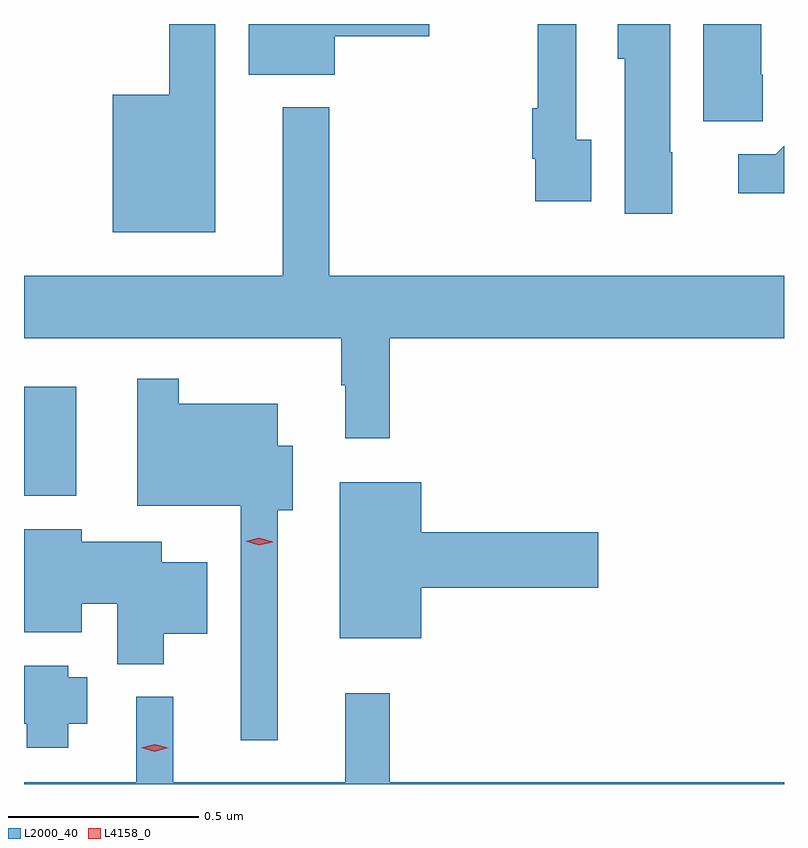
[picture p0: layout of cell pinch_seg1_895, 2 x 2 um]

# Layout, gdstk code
import gdstk
lib = gdstk.Library(unit=1e-6, precision=1e-09)
def R(c, l, rs):  # rectangles x0, y0, x1, y1
    for r in rs: c.add(gdstk.rectangle(r[:2], r[2:], *l))
def P(c, l, *ps):  # polygons
    for p in ps: c.add(gdstk.Polygon(p, *l))
L2000_40 = (2000, 40)
L4158_0 = (4158, 0)

pinch_seg1_895 = lib.new_cell('pinch_seg1_895')
R(pinch_seg1_895, L2000_40, [(481.904,519.35,482.041,519.637)])
P(pinch_seg1_895, L2000_40, [(483.397,520.286),(483.357,520.286),(483.357,520.591),(483.256,520.591),(483.256,520.369),(483.241,520.369),(483.241,520.237),(483.249,520.237),(483.249,520.125),(483.397,520.125)],
  [(482.407,520.591),(482.286,520.591),(482.286,520.405),(482.138,520.405),(482.138,520.043),(482.407,520.043)],
  [(483.848,520.458),(483.844,520.458),(483.844,520.591),(483.692,520.591),(483.692,520.335),(483.848,520.335)],
  [(483.61,520.254),(483.604,520.254),(483.604,520.591),(483.467,520.591),(483.467,520.5),(483.485,520.5),(483.485,520.092),(483.61,520.092)],
  [(482.722,520.559),(482.971,520.559),(482.971,520.591),(482.495,520.591),(482.495,520.457),(482.722,520.457)],
  [(482.867,519.764),(483.904,519.764),(483.904,519.928),(482.707,519.928),(482.707,520.372),(482.585,520.372),(482.585,519.928),(481.904,519.928),(481.904,519.764),(482.739,519.764),(482.739,519.641),(482.75,519.641),(482.75,519.501),(482.867,519.501)],
  [(483.904,520.27),(483.882,520.248),(483.783,520.248),(483.783,520.145),(483.904,520.145)],
  [(482.572,519.311),(482.611,519.311),(482.611,519.481),(482.572,519.481),(482.572,519.592),(482.311,519.592),(482.311,519.658),(482.202,519.658),(482.202,519.323),(482.475,519.323),(482.475,518.706),(482.572,518.706)],
  [(482.95,519.107),(483.415,519.107),(483.415,519.254),(482.95,519.254),(482.95,519.385),(482.735,519.385),(482.735,518.975),(482.95,518.975)],
  [(482.272,518.987),(482.386,518.987),(482.386,519.175),(482.266,519.175),(482.266,519.229),(482.056,519.229),(482.056,519.262),(481.904,519.262),(481.904,518.99),(482.056,518.99),(482.056,519.065),(482.15,519.065),(482.15,518.906),(482.272,518.906)],
  [(482.021,518.75),(482.071,518.75),(482.071,518.872),(482.02,518.872),(482.02,518.902),(481.904,518.902),(481.904,518.75),(481.911,518.75),(481.911,518.687),(482.021,518.687)],
  [(483.904,518.596),(482.867,518.596),(482.867,518.83),(482.75,518.83),(482.75,518.596),(482.297,518.596),(482.297,518.821),(482.199,518.821),(482.199,518.596),(481.904,518.596),(481.904,518.591),(483.904,518.591)])
P(pinch_seg1_895, L4158_0, [(482.248,518.676),(482.212,518.686),(482.212,518.686),(482.212,518.686),(482.248,518.696),(482.283,518.686),(482.283,518.686),(482.283,518.686)],
  [(482.522,519.219),(482.487,519.23),(482.486,519.23),(482.487,519.23),(482.523,519.239),(482.558,519.228),(482.558,519.228),(482.558,519.227)])

lib.write_gds('pinch_seg1_895.gds')
